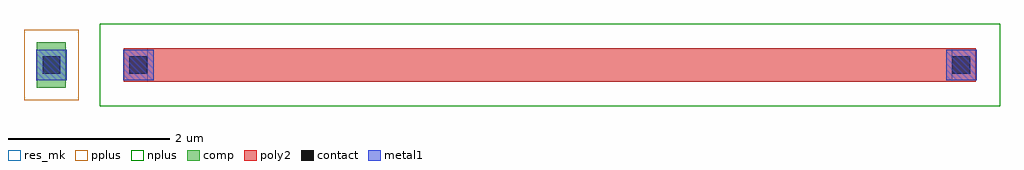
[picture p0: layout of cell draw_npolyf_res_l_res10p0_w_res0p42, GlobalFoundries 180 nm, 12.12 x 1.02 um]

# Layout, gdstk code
import gdstk
lib = gdstk.Library(unit=1e-6, precision=1e-09)
def R(c, l, rs):  # rectangles x0, y0, x1, y1
    for r in rs: c.add(gdstk.rectangle(r[:2], r[2:], *l))
comp = (22, 0)
poly2 = (30, 0)
pplus = (31, 0)
nplus = (32, 0)
contact = (33, 0)
metal1 = (34, 0)
res_mk = (110, 5)

draw_npolyf_res_l_res10p = lib.new_cell('draw_npolyf_res_l_res10p0_w_res0p42')
R(draw_npolyf_res_l_res10p, comp, [(-1.37,-0.07,-1.01,0.49)])
R(draw_npolyf_res_l_res10p, poly2, [(-0.29,0,10.29,0.42)])
R(draw_npolyf_res_l_res10p, pplus, [(-1.53,-0.23,-0.85,0.65)])
R(draw_npolyf_res_l_res10p, nplus, [(-0.59,-0.3,10.59,0.72)])
R(draw_npolyf_res_l_res10p, contact, [(-1.3,0.1,-1.08,0.32), (-0.22,0.1,0,0.32), (10,0.1,10.22,0.32)])
R(draw_npolyf_res_l_res10p, metal1, [(-1.38,0.02,-1,0.4), (-0.3,0.02,0.08,0.4), (9.92,0.02,10.3,0.4)])
R(draw_npolyf_res_l_res10p, res_mk, [(0,0,10,0.42)])

lib.write_gds('draw_npolyf_res_l_res10p0_w_res0p42.gds')
